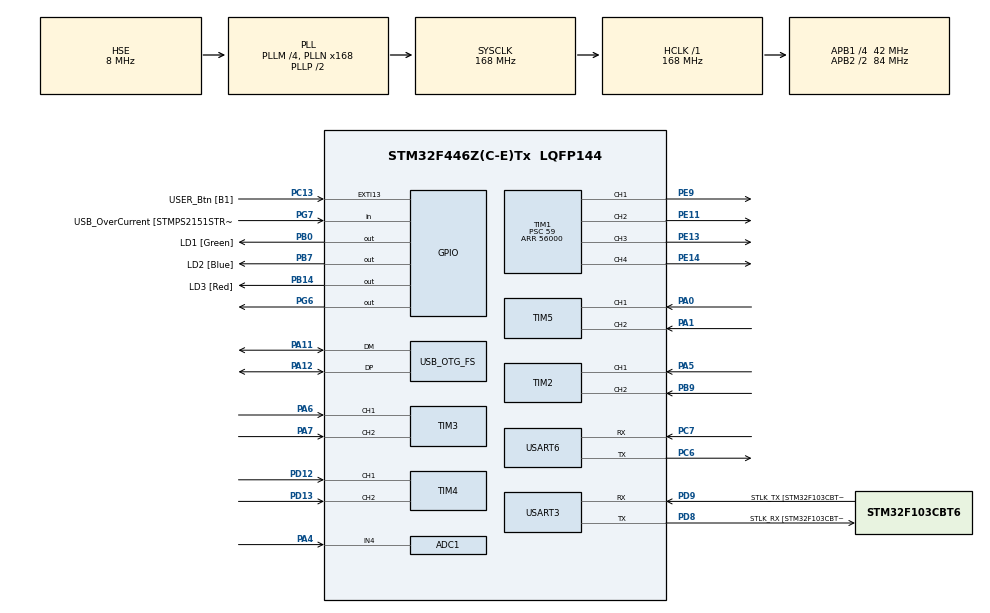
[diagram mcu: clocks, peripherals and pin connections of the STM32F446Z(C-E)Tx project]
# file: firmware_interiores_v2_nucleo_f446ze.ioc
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ADC1.Channel-5\#ChannelRegularConversion=ADC_CHANNEL_4
ADC1.NbrOfConversionFlag=1
ADC1.Rank-5\#ChannelRegularConversion=1
ADC1.SamplingTime-5\#ChannelRegularConversion=ADC_SAMPLETIME_3CYCLES
ADC1.master=1
Mcu.Family=STM32F4
Mcu.Name=STM32F446Z(C-E)Tx
Mcu.Package=LQFP144
NVIC.OTG_FS_IRQn=true\:0\:0\:false\:false\:true\:true\:true\:true
NVIC.PriorityGroup=NVIC_PRIORITYGROUP_4
NVIC.TIM2_IRQn=true\:0\:0\:false\:false\:true\:true\:true\:true
NVIC.TIM3_IRQn=true\:0\:0\:false\:false\:true\:true\:true\:true
NVIC.TIM4_IRQn=true\:0\:0\:false\:false\:true\:true\:true\:true
NVIC.TIM5_IRQn=true\:0\:0\:false\:false\:true\:true\:true\:true
NVIC.USART6_IRQn=true\:0\:0\:false\:false\:true\:true\:true\:true
PA0-WKUP.Signal=S_TIM5_CH1
PA1.Signal=S_TIM5_CH2
PA10.GPIO_Label=USB_ID
PA10.Signal=USB_OTG_FS_ID
PA11.Mode=Device_Only
PA11.Signal=USB_OTG_FS_DM
PA12.Mode=Device_Only
PA12.Signal=USB_OTG_FS_DP
PA13.GPIO_Label=TMS
PA13.Mode=Serial_Wire
PA13.Signal=SYS_JTMS-SWDIO
PA14.GPIO_Label=TCK
PA14.Mode=Serial_Wire
PA14.Signal=SYS_JTCK-SWCLK
PA4.Signal=ADCx_IN4
PA5.Signal=S_TIM2_CH1_ETR
PA6.Signal=S_TIM3_CH1
PA7.Signal=S_TIM3_CH2
PA8.GPIO_Label=USB_SOF [TP1]
PA8.Signal=USB_OTG_FS_SOF
PA9.GPIO_Label=USB_VBUS
PA9.Signal=USB_OTG_FS_VBUS
PB0.GPIO_Label=LD1 [Green]
PB0.Signal=GPIO_Output
PB14.GPIO_Label=LD3 [Red]
PB14.Signal=GPIO_Output
PB7.GPIO_Label=LD2 [Blue]
PB7.Signal=GPIO_Output
PB9.Signal=S_TIM2_CH2
PC13.GPIO_Label=USER_Btn [B1]
PC13.Signal=GPXTI13
PC14-OSC32_IN.Signal=RCC_OSC32_IN
PC15-OSC32_OUT.Signal=RCC_OSC32_OUT
PC6.Mode=Asynchronous
PC6.Signal=USART6_TX
PC7.Mode=Asynchronous
PC7.Signal=USART6_RX
PD12.Signal=S_TIM4_CH1
PD13.Signal=S_TIM4_CH2
PD8.GPIO_Label=STLK_RX [STM32F103CBT6_PA3]
PD8.Mode=Asynchronous
PD8.Signal=USART3_TX
PD9.GPIO_Label=STLK_TX [STM32F103CBT6_PA2]
PD9.Mode=Asynchronous
PD9.Signal=USART3_RX
PE11.Signal=S_TIM1_CH2
PE13.Signal=S_TIM1_CH3
PE14.Signal=S_TIM1_CH4
PE9.Signal=S_TIM1_CH1
PG6.Signal=GPIO_Output
PG7.GPIO_Label=USB_OverCurrent [STMPS2151STR_FAULT]
PG7.Signal=GPIO_Input
PH0-OSC_IN.Mode=HSE-External-Clock-Source
PH0-OSC_IN.Signal=RCC_OSC_IN
PH1-OSC_OUT.Mode=HSE-External-Clock-Source
PH1-OSC_OUT.Signal=RCC_OSC_OUT
ProjectManager.HeapSize=0x200
ProjectManager.StackSize=0x400
ProjectManager.TargetToolchain=STM32CubeIDE
RCC.48MHZClocksFreq_Value=24000000
RCC.AHBFreq_Value=168000000
RCC.APB1CLKDivider=RCC_HCLK_DIV4
RCC.APB1Freq_Value=42000000
RCC.APB1TimFreq_Value=84000000
RCC.APB2CLKDivider=RCC_HCLK_DIV2
RCC.APB2Freq_Value=84000000
RCC.APB2TimFreq_Value=168000000
RCC.CortexFreq_Value=168000000
RCC.HCLKFreq_Value=168000000
RCC.HSE_VALUE=8000000
RCC.HSI_VALUE=16000000
RCC.PLLM=4
RCC.PLLMUL=RCC_PLL_MUL9
RCC.PLLN=168
RCC.PLLQ=7
RCC.PLLSourceVirtual=RCC_PLLSOURCE_HSE
RCC.PRESCALERUSB=RCC_USBCLKSOURCE_PLL_DIV1_5
RCC.SYSCLKFreq_VALUE=168000000
RCC.SYSCLKSource=RCC_SYSCLKSOURCE_PLLCLK
RCC.SYSCLKSourceVirtual=RCC_SYSCLKSOURCE_PLLCLK
RCC.USBFreq_Value=48000000
RCC.VCOOutputFreq_Value=336000000
SH.ADCx_IN4.0=ADC1_IN4,IN4
SH.S_TIM1_CH1.0=TIM1_CH1,PWM Generation1 CH1
SH.S_TIM1_CH2.0=TIM1_CH2,PWM Generation2 CH2
SH.S_TIM1_CH3.0=TIM1_CH3,PWM Generation3 CH3
SH.S_TIM1_CH4.0=TIM1_CH4,PWM Generation4 CH4
SH.S_TIM2_CH1_ETR.0=TIM2_CH1,Encoder_Interface
SH.S_TIM2_CH2.0=TIM2_CH2,Encoder_Interface
SH.S_TIM3_CH1.0=TIM3_CH1,Encoder_Interface
SH.S_TIM3_CH2.0=TIM3_CH2,Encoder_Interface
SH.S_TIM4_CH1.0=TIM4_CH1,Encoder_Interface
SH.S_TIM4_CH2.0=TIM4_CH2,Encoder_Interface
SH.S_TIM5_CH1.0=TIM5_CH1,Encoder_Interface
SH.S_TIM5_CH2.0=TIM5_CH2,Encoder_Interface
TIM1.Channel-PWM\ Generation1\ CH1=TIM_CHANNEL_1
TIM1.Channel-PWM\ Generation2\ CH2=TIM_CHANNEL_2
TIM1.Channel-PWM\ Generation3\ CH3=TIM_CHANNEL_3
TIM1.Channel-PWM\ Generation4\ CH4=TIM_CHANNEL_4
TIM1.Period=56000
TIM1.Prescaler=59
TIM1.Pulse-PWM\ Generation1\ CH1=4256
TIM1.Pulse-PWM\ Generation2\ CH2=4256
TIM1.Pulse-PWM\ Generation3\ CH3=4256
TIM1.Pulse-PWM\ Generation4\ CH4=4256
TIM2.EncoderMode=TIM_ENCODERMODE_TI12
TIM3.EncoderMode=TIM_ENCODERMODE_TI12
TIM4.EncoderMode=TIM_ENCODERMODE_TI12
TIM5.EncoderMode=TIM_ENCODERMODE_TI12
USART3.VirtualMode=VM_ASYNC
USART6.VirtualMode=VM_ASYNC
USB_DEVICE.CLASS_NAME_FS=CDC
USB_DEVICE.PRODUCT_STRING_CDC_FS=STM32 Virtual DiegoPort
USB_DEVICE.VID-CDC_FS=1155
USB_DEVICE.VirtualMode-CDC_FS=Cdc
USB_DEVICE.VirtualModeFS=Cdc_FS
USB_OTG_FS.VirtualMode=Device_Only
VP_TIM1_VS_ClockSourceINT.Mode=Internal
VP_USB_DEVICE_VS_USB_DEVICE_CDC_FS.Mode=CDC_FS
board=NUCLEO-F446ZE

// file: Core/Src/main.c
/* USER CODE BEGIN Header */
/**
  ******************************************************************************
  * @file           : main.c
  * @brief          : Main program body
  ******************************************************************************
  * @attention
  *
  * Copyright (c) 2022 STMicroelectronics.
  * All rights reserved.
  *
  * This software is licensed under terms that can be found in the LICENSE file
  * in the root directory of this software component.
  * If no LICENSE file comes with this software, it is provided AS-IS.
  *
  ******************************************************************************
  */
/* USER CODE END Header */
#include "main.h"
#include "usb_device.h"

/* USER CODE BEGIN Includes */
#include "usbd_cdc_if.h"
#include "string.h"
/* USER CODE END Includes */

 ADC_HandleTypeDef hadc1;

TIM_HandleTypeDef htim1;
TIM_HandleTypeDef htim2;
TIM_HandleTypeDef htim3;
TIM_HandleTypeDef htim4;
TIM_HandleTypeDef htim5;

UART_HandleTypeDef huart3;
UART_HandleTypeDef huart6;

/* USER CODE BEGIN PV */
int cmd_pulse=4256;
int forw=1;
uint16_t raw;
int skip=200;
int cmd=0;
int cmd_command=0;
int forw_rot=0;
int back_rot=0;
int stop_rot=0;

char *data="x1.12347123451234512347,y1.12345123451234512345,v1.12345123451234512345,w1.12345123451234512345";
uint8_t buffer[64];
//char *data="HolaDiego";

uint32_t counter = 0;
int16_t count=0;
float wheel_FL_ang_pos=0;
int16_t position=0;
int speed=0;
int cuenta=0;
int contador=0;
int counter1=0;
float vel_ang_FL=0;
float old_FL_ang_pos=0;

/* USER CODE END PV */

void SystemClock_Config(void);
static void MX_GPIO_Init(void);
static void MX_USART3_UART_Init(void);
static void MX_TIM2_Init(void);
static void MX_TIM3_Init(void);
static void MX_TIM1_Init(void);
static void MX_TIM4_Init(void);
static void MX_TIM5_Init(void);
static void MX_USART6_UART_Init(void);
static void MX_ADC1_Init(void);

/* USER CODE BEGIN 0 */
/*char readBuf[1];
void HAL_UART_RxCpltCallback(UART_HandleTypeDef *UartHandle) {
  Se recibe el caracter y se pide el siguiente
 HAL_UART_Receive_IT(&huart6, (uint8_t*)readBuf, 1);
}*/

void HAL_TIM_IC_CaptureCallback(TIM_HandleTypeDef *htim){
	counter=__HAL_TIM_GET_COUNTER(htim);
	count= (int16_t)counter;
	position=count/4;
	//cuenta++;
}

/* USER CODE END 0 */

int main(void)
{

  /* MCU Configuration--------------------------------------------------------*/

  /* Reset of all peripherals, Initializes the Flash interface and the Systick. */
  HAL_Init();

  /* Configure the system clock */
  SystemClock_Config();

  /* Initialize all configured peripherals */
  MX_GPIO_Init();
  MX_USART3_UART_Init();
  MX_TIM2_Init();
  MX_TIM3_Init();
  MX_TIM1_Init();
  MX_TIM4_Init();
  MX_TIM5_Init();
  MX_USART6_UART_Init();
  MX_ADC1_Init();
  MX_USB_DEVICE_Init();
  /* USER CODE BEGIN 2 */
  HAL_TIM_PWM_Start(&htim1, TIM_CHANNEL_1);
  HAL_TIM_PWM_Start(&htim1, TIM_CHANNEL_2);
  HAL_TIM_PWM_Start(&htim1, TIM_CHANNEL_3);
  HAL_TIM_PWM_Start(&htim1, TIM_CHANNEL_4);
  HAL_TIM_Encoder_Start_IT(&htim2, TIM_CHANNEL_ALL);

  //HAL_ADCEx_InjectedStart(&hadc1);
  /* USER CODE END 2 */

  /* Infinite loop */
  /* USER CODE BEGIN WHILE */
  //HAL_UART_Receive_IT(&huart6, (uint8_t*)readBuf, 1);

  while (1)
  {

    /* USER CODE END WHILE */

    /* USER CODE BEGIN 3 */
	  CDC_Transmit_FS((uint8_t *) data, strlen (data));

	  HAL_Delay(10);

  	  //__HAL_TIM_SET_COMPARE(&htim1, TIM_CHANNEL_1, cmd_pulse);
  	  //__HAL_TIM_SET_COMPARE(&htim1, TIM_CHANNEL_2, cmd_pulse);
  	  //__HAL_TIM_SET_COMPARE(&htim1, TIM_CHANNEL_3, cmd_pulse);
  	  //__HAL_TIM_SET_COMPARE(&htim1, TIM_CHANNEL_4, cmd_pulse);
  }
  /* USER CODE END 3 */
}

void SystemClock_Config(void)
{
  RCC_OscInitTypeDef RCC_OscInitStruct = {0};
  RCC_ClkInitTypeDef RCC_ClkInitStruct = {0};

  /** Configure the main internal regulator output voltage
  */
  __HAL_RCC_PWR_CLK_ENABLE();
  __HAL_PWR_VOLTAGESCALING_CONFIG(PWR_REGULATOR_VOLTAGE_SCALE1);

  /** Initializes the RCC Oscillators according to the specified parameters
  * in the RCC_OscInitTypeDef structure.
  */
  RCC_OscInitStruct.OscillatorType = RCC_OSCILLATORTYPE_HSE;
  RCC_OscInitStruct.HSEState = RCC_HSE_BYPASS;
  RCC_OscInitStruct.PLL.PLLState = RCC_PLL_ON;
  RCC_OscInitStruct.PLL.PLLSource = RCC_PLLSOURCE_HSE;
  RCC_OscInitStruct.PLL.PLLM = 4;
  RCC_OscInitStruct.PLL.PLLN = 168;
  RCC_OscInitStruct.PLL.PLLP = RCC_PLLP_DIV2;
  RCC_OscInitStruct.PLL.PLLQ = 7;
  RCC_OscInitStruct.PLL.PLLR = 2;
  if (HAL_RCC_OscConfig(&RCC_OscInitStruct) != HAL_OK)
  {
    Error_Handler();
  }

  /** Initializes the CPU, AHB and APB buses clocks
  */
  RCC_ClkInitStruct.ClockType = RCC_CLOCKTYPE_HCLK|RCC_CLOCKTYPE_SYSCLK
                              |RCC_CLOCKTYPE_PCLK1|RCC_CLOCKTYPE_PCLK2;
  RCC_ClkInitStruct.SYSCLKSource = RCC_SYSCLKSOURCE_PLLCLK;
  RCC_ClkInitStruct.AHBCLKDivider = RCC_SYSCLK_DIV1;
  RCC_ClkInitStruct.APB1CLKDivider = RCC_HCLK_DIV4;
  RCC_ClkInitStruct.APB2CLKDivider = RCC_HCLK_DIV2;

  if (HAL_RCC_ClockConfig(&RCC_ClkInitStruct, FLASH_LATENCY_5) != HAL_OK)
  {
    Error_Handler();
  }
}

static void MX_ADC1_Init(void)
{

  ADC_ChannelConfTypeDef sConfig = {0};

  /** Configure the global features of the ADC (Clock, Resolution, Data Alignment and number of conversion)
  */
  hadc1.Instance = ADC1;
  hadc1.Init.ClockPrescaler = ADC_CLOCK_SYNC_PCLK_DIV4;
  hadc1.Init.Resolution = ADC_RESOLUTION_12B;
  hadc1.Init.ScanConvMode = DISABLE;
  hadc1.Init.ContinuousConvMode = DISABLE;
  hadc1.Init.DiscontinuousConvMode = DISABLE;
  hadc1.Init.ExternalTrigConvEdge = ADC_EXTERNALTRIGCONVEDGE_NONE;
  hadc1.Init.ExternalTrigConv = ADC_SOFTWARE_START;
  hadc1.Init.DataAlign = ADC_DATAALIGN_RIGHT;
  hadc1.Init.NbrOfConversion = 1;
  hadc1.Init.DMAContinuousRequests = DISABLE;
  hadc1.Init.EOCSelection = ADC_EOC_SINGLE_CONV;
  if (HAL_ADC_Init(&hadc1) != HAL_OK)
  {
    Error_Handler();
  }

  /** Configure for the selected ADC regular channel its corresponding rank in the sequencer and its sample time.
  */
  sConfig.Channel = ADC_CHANNEL_4;
  sConfig.Rank = 1;
  sConfig.SamplingTime = ADC_SAMPLETIME_3CYCLES;
  if (HAL_ADC_ConfigChannel(&hadc1, &sConfig) != HAL_OK)
  {
    Error_Handler();
  }

}

static void MX_TIM1_Init(void)
{

  TIM_ClockConfigTypeDef sClockSourceConfig = {0};
  TIM_MasterConfigTypeDef sMasterConfig = {0};
  TIM_OC_InitTypeDef sConfigOC = {0};
  TIM_BreakDeadTimeConfigTypeDef sBreakDeadTimeConfig = {0};

  htim1.Instance = TIM1;
  htim1.Init.Prescaler = 59;
  htim1.Init.CounterMode = TIM_COUNTERMODE_UP;
  htim1.Init.Period = 56000;
  htim1.Init.ClockDivision = TIM_CLOCKDIVISION_DIV1;
  htim1.Init.RepetitionCounter = 0;
  htim1.Init.AutoReloadPreload = TIM_AUTORELOAD_PRELOAD_DISABLE;
  if (HAL_TIM_Base_Init(&htim1) != HAL_OK)
  {
    Error_Handler();
  }
  sClockSourceConfig.ClockSource = TIM_CLOCKSOURCE_INTERNAL;
  if (HAL_TIM_ConfigClockSource(&htim1, &sClockSourceConfig) != HAL_OK)
  {
    Error_Handler();
  }
  if (HAL_TIM_PWM_Init(&htim1) != HAL_OK)
  {
    Error_Handler();
  }
  sMasterConfig.MasterOutputTrigger = TIM_TRGO_RESET;
  sMasterConfig.MasterSlaveMode = TIM_MASTERSLAVEMODE_DISABLE;
  if (HAL_TIMEx_MasterConfigSynchronization(&htim1, &sMasterConfig) != HAL_OK)
  {
    Error_Handler();
  }
  sConfigOC.OCMode = TIM_OCMODE_PWM1;
  sConfigOC.Pulse = 4256;
  sConfigOC.OCPolarity = TIM_OCPOLARITY_HIGH;
  sConfigOC.OCNPolarity = TIM_OCNPOLARITY_HIGH;
  sConfigOC.OCFastMode = TIM_OCFAST_DISABLE;
  sConfigOC.OCIdleState = TIM_OCIDLESTATE_RESET;
  sConfigOC.OCNIdleState = TIM_OCNIDLESTATE_RESET;
  if (HAL_TIM_PWM_ConfigChannel(&htim1, &sConfigOC, TIM_CHANNEL_1) != HAL_OK)
  {
    Error_Handler();
  }
  if (HAL_TIM_PWM_ConfigChannel(&htim1, &sConfigOC, TIM_CHANNEL_2) != HAL_OK)
  {
    Error_Handler();
  }
  if (HAL_TIM_PWM_ConfigChannel(&htim1, &sConfigOC, TIM_CHANNEL_3) != HAL_OK)
  {
    Error_Handler();
  }
  if (HAL_TIM_PWM_ConfigChannel(&htim1, &sConfigOC, TIM_CHANNEL_4) != HAL_OK)
  {
    Error_Handler();
  }
  sBreakDeadTimeConfig.OffStateRunMode = TIM_OSSR_DISABLE;
  sBreakDeadTimeConfig.OffStateIDLEMode = TIM_OSSI_DISABLE;
  sBreakDeadTimeConfig.LockLevel = TIM_LOCKLEVEL_OFF;
  sBreakDeadTimeConfig.DeadTime = 0;
  sBreakDeadTimeConfig.BreakState = TIM_BREAK_DISABLE;
  sBreakDeadTimeConfig.BreakPolarity = TIM_BREAKPOLARITY_HIGH;
  sBreakDeadTimeConfig.AutomaticOutput = TIM_AUTOMATICOUTPUT_DISABLE;
  if (HAL_TIMEx_ConfigBreakDeadTime(&htim1, &sBreakDeadTimeConfig) != HAL_OK)
  {
    Error_Handler();
  }
  HAL_TIM_MspPostInit(&htim1);

}

static void MX_TIM2_Init(void)
{

  TIM_Encoder_InitTypeDef sConfig = {0};
  TIM_MasterConfigTypeDef sMasterConfig = {0};

  htim2.Instance = TIM2;
  htim2.Init.Prescaler = 0;
  htim2.Init.CounterMode = TIM_COUNTERMODE_UP;
  htim2.Init.Period = 4294967295;
  htim2.Init.ClockDivision = TIM_CLOCKDIVISION_DIV1;
  htim2.Init.AutoReloadPreload = TIM_AUTORELOAD_PRELOAD_DISABLE;
  sConfig.EncoderMode = TIM_ENCODERMODE_TI12;
  sConfig.IC1Polarity = TIM_ICPOLARITY_RISING;
  sConfig.IC1Selection = TIM_ICSELECTION_DIRECTTI;
  sConfig.IC1Prescaler = TIM_ICPSC_DIV1;
  sConfig.IC1Filter = 0;
  sConfig.IC2Polarity = TIM_ICPOLARITY_RISING;
  sConfig.IC2Selection = TIM_ICSELECTION_DIRECTTI;
  sConfig.IC2Prescaler = TIM_ICPSC_DIV1;
  sConfig.IC2Filter = 0;
  if (HAL_TIM_Encoder_Init(&htim2, &sConfig) != HAL_OK)
  {
    Error_Handler();
  }
  sMasterConfig.MasterOutputTrigger = TIM_TRGO_RESET;
  sMasterConfig.MasterSlaveMode = TIM_MASTERSLAVEMODE_DISABLE;
  if (HAL_TIMEx_MasterConfigSynchronization(&htim2, &sMasterConfig) != HAL_OK)
  {
    Error_Handler();
  }

}

static void MX_TIM3_Init(void)
{

  TIM_Encoder_InitTypeDef sConfig = {0};
  TIM_MasterConfigTypeDef sMasterConfig = {0};

  htim3.Instance = TIM3;
  htim3.Init.Prescaler = 0;
  htim3.Init.CounterMode = TIM_COUNTERMODE_UP;
  htim3.Init.Period = 65535;
  htim3.Init.ClockDivision = TIM_CLOCKDIVISION_DIV1;
  htim3.Init.AutoReloadPreload = TIM_AUTORELOAD_PRELOAD_DISABLE;
  sConfig.EncoderMode = TIM_ENCODERMODE_TI12;
  sConfig.IC1Polarity = TIM_ICPOLARITY_RISING;
  sConfig.IC1Selection = TIM_ICSELECTION_DIRECTTI;
  sConfig.IC1Prescaler = TIM_ICPSC_DIV1;
  sConfig.IC1Filter = 0;
  sConfig.IC2Polarity = TIM_ICPOLARITY_RISING;
  sConfig.IC2Selection = TIM_ICSELECTION_DIRECTTI;
  sConfig.IC2Prescaler = TIM_ICPSC_DIV1;
  sConfig.IC2Filter = 0;
  if (HAL_TIM_Encoder_Init(&htim3, &sConfig) != HAL_OK)
  {
    Error_Handler();
  }
  sMasterConfig.MasterOutputTrigger = TIM_TRGO_RESET;
  sMasterConfig.MasterSlaveMode = TIM_MASTERSLAVEMODE_DISABLE;
  if (HAL_TIMEx_MasterConfigSynchronization(&htim3, &sMasterConfig) != HAL_OK)
  {
    Error_Handler();
  }

}

static void MX_TIM4_Init(void)
{

  TIM_Encoder_InitTypeDef sConfig = {0};
  TIM_MasterConfigTypeDef sMasterConfig = {0};

  htim4.Instance = TIM4;
  htim4.Init.Prescaler = 0;
  htim4.Init.CounterMode = TIM_COUNTERMODE_UP;
  htim4.Init.Period = 65535;
  htim4.Init.ClockDivision = TIM_CLOCKDIVISION_DIV1;
  htim4.Init.AutoReloadPreload = TIM_AUTORELOAD_PRELOAD_DISABLE;
  sConfig.EncoderMode = TIM_ENCODERMODE_TI12;
  sConfig.IC1Polarity = TIM_ICPOLARITY_RISING;
  sConfig.IC1Selection = TIM_ICSELECTION_DIRECTTI;
  sConfig.IC1Prescaler = TIM_ICPSC_DIV1;
  sConfig.IC1Filter = 0;
  sConfig.IC2Polarity = TIM_ICPOLARITY_RISING;
  sConfig.IC2Selection = TIM_ICSELECTION_DIRECTTI;
  sConfig.IC2Prescaler = TIM_ICPSC_DIV1;
  sConfig.IC2Filter = 0;
  if (HAL_TIM_Encoder_Init(&htim4, &sConfig) != HAL_OK)
  {
    Error_Handler();
  }
  sMasterConfig.MasterOutputTrigger = TIM_TRGO_RESET;
  sMasterConfig.MasterSlaveMode = TIM_MASTERSLAVEMODE_DISABLE;
  if (HAL_TIMEx_MasterConfigSynchronization(&htim4, &sMasterConfig) != HAL_OK)
  {
    Error_Handler();
  }

}

static void MX_TIM5_Init(void)
{

  TIM_Encoder_InitTypeDef sConfig = {0};
  TIM_MasterConfigTypeDef sMasterConfig = {0};

  htim5.Instance = TIM5;
  htim5.Init.Prescaler = 0;
  htim5.Init.CounterMode = TIM_COUNTERMODE_UP;
  htim5.Init.Period = 4294967295;
  htim5.Init.ClockDivision = TIM_CLOCKDIVISION_DIV1;
  htim5.Init.AutoReloadPreload = TIM_AUTORELOAD_PRELOAD_DISABLE;
  sConfig.EncoderMode = TIM_ENCODERMODE_TI12;
  sConfig.IC1Polarity = TIM_ICPOLARITY_RISING;
  sConfig.IC1Selection = TIM_ICSELECTION_DIRECTTI;
  sConfig.IC1Prescaler = TIM_ICPSC_DIV1;
  sConfig.IC1Filter = 0;
  sConfig.IC2Polarity = TIM_ICPOLARITY_RISING;
  sConfig.IC2Selection = TIM_ICSELECTION_DIRECTTI;
  sConfig.IC2Prescaler = TIM_ICPSC_DIV1;
  sConfig.IC2Filter = 0;
  if (HAL_TIM_Encoder_Init(&htim5, &sConfig) != HAL_OK)
  {
    Error_Handler();
  }
  sMasterConfig.MasterOutputTrigger = TIM_TRGO_RESET;
  sMasterConfig.MasterSlaveMode = TIM_MASTERSLAVEMODE_DISABLE;
  if (HAL_TIMEx_MasterConfigSynchronization(&htim5, &sMasterConfig) != HAL_OK)
  {
    Error_Handler();
  }

}

static void MX_USART3_UART_Init(void)
{

  huart3.Instance = USART3;
  huart3.Init.BaudRate = 115200;
  huart3.Init.WordLength = UART_WORDLENGTH_8B;
  huart3.Init.StopBits = UART_STOPBITS_1;
  huart3.Init.Parity = UART_PARITY_NONE;
  huart3.Init.Mode = UART_MODE_TX_RX;
  huart3.Init.HwFlowCtl = UART_HWCONTROL_NONE;
  huart3.Init.OverSampling = UART_OVERSAMPLING_16;
  if (HAL_UART_Init(&huart3) != HAL_OK)
  {
    Error_Handler();
  }

}

static void MX_USART6_UART_Init(void)
{

  huart6.Instance = USART6;
  huart6.Init.BaudRate = 115200;
  huart6.Init.WordLength = UART_WORDLENGTH_8B;
  huart6.Init.StopBits = UART_STOPBITS_1;
  huart6.Init.Parity = UART_PARITY_NONE;
  huart6.Init.Mode = UART_MODE_TX_RX;
  huart6.Init.HwFlowCtl = UART_HWCONTROL_NONE;
  huart6.Init.OverSampling = UART_OVERSAMPLING_16;
  if (HAL_UART_Init(&huart6) != HAL_OK)
  {
    Error_Handler();
  }

}

static void MX_GPIO_Init(void)
{
  GPIO_InitTypeDef GPIO_InitStruct = {0};

  /* GPIO Ports Clock Enable */
  __HAL_RCC_GPIOC_CLK_ENABLE();
  __HAL_RCC_GPIOH_CLK_ENABLE();
  __HAL_RCC_GPIOA_CLK_ENABLE();
  __HAL_RCC_GPIOB_CLK_ENABLE();
  __HAL_RCC_GPIOE_CLK_ENABLE();
  __HAL_RCC_GPIOD_CLK_ENABLE();
  __HAL_RCC_GPIOG_CLK_ENABLE();

  /*Configure GPIO pin Output Level */
  HAL_GPIO_WritePin(GPIOB, LD1_Pin|LD3_Pin|LD2_Pin, GPIO_PIN_RESET);

  /*Configure GPIO pin Output Level */
  HAL_GPIO_WritePin(GPIOG, GPIO_PIN_6, GPIO_PIN_RESET);

  /*Configure GPIO pin : USER_Btn_Pin */
  GPIO_InitStruct.Pin = USER_Btn_Pin;
  GPIO_InitStruct.Mode = GPIO_MODE_IT_RISING;
  GPIO_InitStruct.Pull = GPIO_NOPULL;
  HAL_GPIO_Init(USER_Btn_GPIO_Port, &GPIO_InitStruct);

  /*Configure GPIO pins : LD1_Pin LD3_Pin LD2_Pin */
  GPIO_InitStruct.Pin = LD1_Pin|LD3_Pin|LD2_Pin;
  GPIO_InitStruct.Mode = GPIO_MODE_OUTPUT_PP;
  GPIO_InitStruct.Pull = GPIO_NOPULL;
  GPIO_InitStruct.Speed = GPIO_SPEED_FREQ_LOW;
  HAL_GPIO_Init(GPIOB, &GPIO_InitStruct);

  /*Configure GPIO pin : PG6 */
  GPIO_InitStruct.Pin = GPIO_PIN_6;
  GPIO_InitStruct.Mode = GPIO_MODE_OUTPUT_PP;
  GPIO_InitStruct.Pull = GPIO_NOPULL;
  GPIO_InitStruct.Speed = GPIO_SPEED_FREQ_LOW;
  HAL_GPIO_Init(GPIOG, &GPIO_InitStruct);

  /*Configure GPIO pin : USB_OverCurrent_Pin */
  GPIO_InitStruct.Pin = USB_OverCurrent_Pin;
  GPIO_InitStruct.Mode = GPIO_MODE_INPUT;
  GPIO_InitStruct.Pull = GPIO_NOPULL;
  HAL_GPIO_Init(USB_OverCurrent_GPIO_Port, &GPIO_InitStruct);

}

void Error_Handler(void)
{
  __disable_irq();
  while (1)
  {
  }
}
